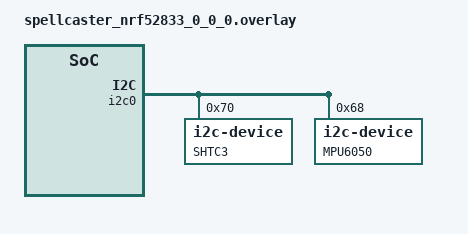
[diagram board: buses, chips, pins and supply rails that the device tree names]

&i2c0 {
	compatible = "nordic,nrf-twi";
	status = "okay";
	pinctrl-0 = <&i2c0_default>;
	pinctrl-1 = <&i2c0_sleep>;
	pinctrl-names = "default", "sleep";

	shtc3: shtc3@70 {
		compatible = "i2c-device";
		reg = <0x70>;
		label = "SHTC3";
	};

	mpu: mpu@68 {
		// https: //github.com/zephyrproject-rtos/zephyr/blob/d11c0a1664f6052e68c6eebd35aa5aba88e7c290/samples/sensor/mpu6050/boards/nrf52dk_nrf52832.overlay#L8
		// compatible = "invensense,mpu6050";
		compatible = "i2c-device";
		reg = <0x68>;
		status = "okay";
		label = "MPU6050";
	};
};
